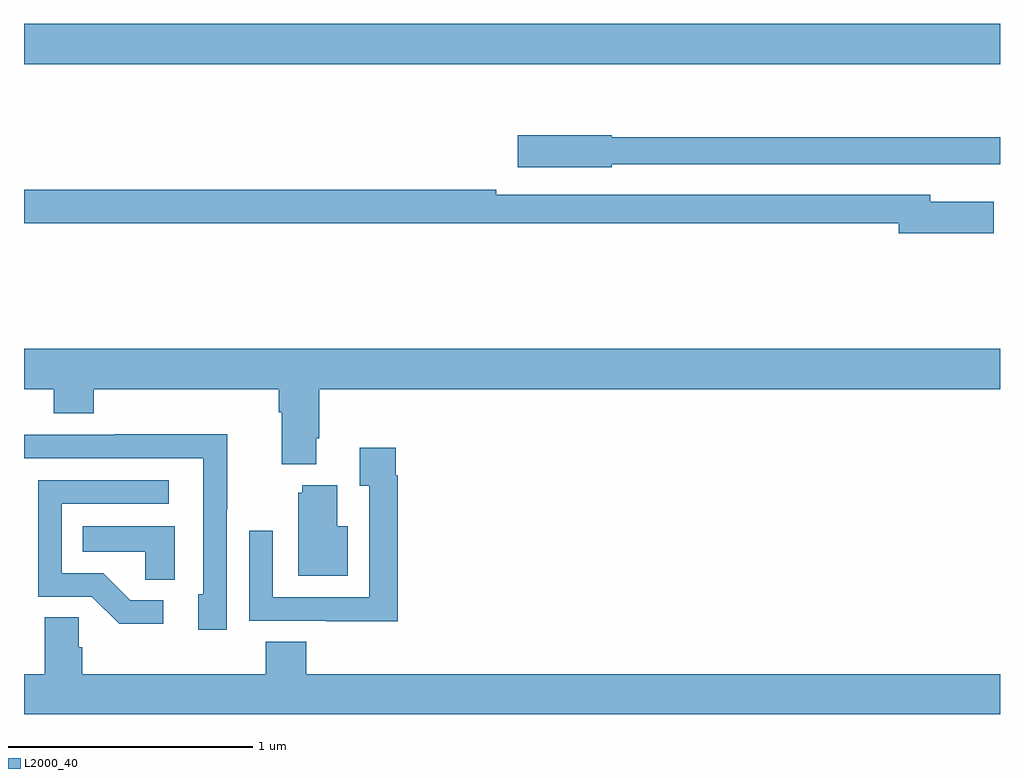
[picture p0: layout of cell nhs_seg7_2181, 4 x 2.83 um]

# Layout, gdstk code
import gdstk
lib = gdstk.Library(unit=1e-6, precision=1e-09)
def R(c, l, rs):  # rectangles x0, y0, x1, y1
    for r in rs: c.add(gdstk.rectangle(r[:2], r[2:], *l))
def P(c, l, *ps):  # polygons
    for p in ps: c.add(gdstk.Polygon(p, *l))
L2000_40 = (2000, 40)

nhs_seg7_2181 = lib.new_cell('nhs_seg7_2181')
R(nhs_seg7_2181, L2000_40, [(253,1059.224,257,1059.388)])
P(nhs_seg7_2181, L2000_40, [(255.408,1058.814),(256.81,1058.814),(256.81,1058.813),(257,1058.813),(257,1058.923),(255.408,1058.923),(255.408,1058.931),(255.024,1058.931),(255.024,1058.801),(255.408,1058.801)],
  [(256.975,1058.659),(256.714,1058.659),(256.714,1058.688),(254.936,1058.688),(254.936,1058.708),(253,1058.708),(253,1058.572),(256.586,1058.572),(256.586,1058.53),(256.975,1058.53)],
  [(254.197,1057.69),(254.21,1057.69),(254.21,1057.892),(257,1057.892),(257,1058.056),(253,1058.056),(253,1057.892),(253.121,1057.892),(253.121,1057.793),(253.286,1057.793),(253.286,1057.892),(254.045,1057.892),(254.045,1057.796),(254.057,1057.796),(254.057,1057.583),(254.197,1057.583)],
  [(253.83,1057.399),(253.833,1057.399),(253.833,1057.706),(253.369,1057.706),(253.369,1057.704),(253,1057.704),(253,1057.608),(253.734,1057.608),(253.734,1057.05),(253.715,1057.05),(253.715,1056.906),(253.83,1056.906)],
  [(254.531,1057.538),(254.524,1057.538),(254.524,1057.651),(254.375,1057.651),(254.375,1057.495),(254.415,1057.495),(254.415,1057.038),(254.019,1057.038),(254.019,1057.312),(253.923,1057.312),(253.923,1056.942),(254.239,1056.942),(254.239,1056.941),(254.531,1056.941)],
  [(253.57,1057.026),(253.435,1057.026),(253.324,1057.137),(253.155,1057.137),(253.155,1057.422),(253.594,1057.422),(253.594,1057.518),(253.059,1057.518),(253.059,1057.041),(253.278,1057.041),(253.391,1056.929),(253.57,1056.929)],
  [(254.326,1057.33),(254.284,1057.33),(254.284,1057.498),(254.141,1057.498),(254.141,1057.467),(254.123,1057.467),(254.123,1057.127),(254.326,1057.127)],
  [(253.618,1057.33),(253.24,1057.33),(253.24,1057.226),(253.497,1057.226),(253.497,1057.111),(253.618,1057.111)],
  [(257,1056.724),(254.156,1056.724),(254.156,1056.857),(253.991,1056.857),(253.991,1056.724),(253.238,1056.724),(253.238,1056.833),(253.224,1056.833),(253.224,1056.956),(253.085,1056.956),(253.085,1056.724),(253,1056.724),(253,1056.56),(257,1056.56)])

lib.write_gds('nhs_seg7_2181.gds')
